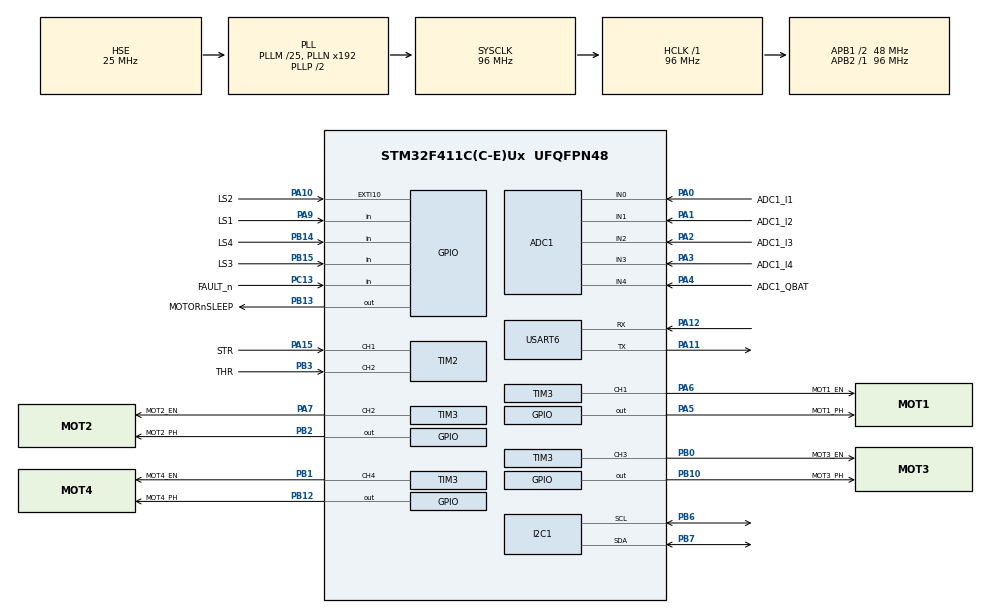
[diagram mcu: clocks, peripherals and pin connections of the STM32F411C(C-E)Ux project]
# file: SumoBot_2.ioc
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ADC1.Channel-1\#ChannelRegularConversion=ADC_CHANNEL_0
ADC1.NbrOfConversionFlag=1
ADC1.Rank-1\#ChannelRegularConversion=1
ADC1.SamplingTime-1\#ChannelRegularConversion=ADC_SAMPLETIME_3CYCLES
ADC1.master=1
Mcu.Family=STM32F4
Mcu.Name=STM32F411C(C-E)Ux
Mcu.Package=UFQFPN48
NVIC.PriorityGroup=NVIC_PRIORITYGROUP_4
NVIC.USART6_IRQn=true\:0\:0\:false\:false\:true\:true\:true\:true
PA0-WKUP.GPIO_Label=ADC1_I1
PA0-WKUP.Signal=ADCx_IN0
PA1.GPIO_Label=ADC1_I2
PA1.Signal=ADCx_IN1
PA10.GPIO_Label=LS2
PA10.Signal=GPXTI10
PA11.Mode=Asynchronous
PA11.Signal=USART6_TX
PA12.Mode=Asynchronous
PA12.Signal=USART6_RX
PA13.Mode=Serial_Wire
PA13.Signal=SYS_JTMS-SWDIO
PA14.Mode=Serial_Wire
PA14.Signal=SYS_JTCK-SWCLK
PA15.GPIO_Label=STR
PA15.Signal=S_TIM2_CH1_ETR
PA2.GPIO_Label=ADC1_I3
PA2.Signal=ADCx_IN2
PA3.GPIO_Label=ADC1_I4
PA3.Signal=ADCx_IN3
PA4.GPIO_Label=ADC1_QBAT
PA4.Signal=ADCx_IN4
PA5.GPIO_Label=MOT1_PH
PA5.Signal=GPIO_Output
PA6.GPIO_Label=MOT1_EN
PA6.Signal=S_TIM3_CH1
PA7.GPIO_Label=MOT2_EN
PA7.Signal=S_TIM3_CH2
PA9.GPIO_Label=LS1
PA9.Signal=GPIO_Input
PB0.GPIO_Label=MOT3_EN
PB0.Signal=S_TIM3_CH3
PB1.GPIO_Label=MOT4_EN
PB1.Signal=S_TIM3_CH4
PB10.GPIO_Label=MOT3_PH
PB10.Signal=GPIO_Output
PB12.GPIO_Label=MOT4_PH
PB12.Signal=GPIO_Output
PB13.GPIO_Label=MOTORnSLEEP
PB13.Signal=GPIO_Output
PB14.GPIO_Label=LS4
PB14.Signal=GPIO_Input
PB15.GPIO_Label=LS3
PB15.Signal=GPIO_Input
PB2.GPIO_Label=MOT2_PH
PB2.Signal=GPIO_Output
PB3.GPIO_Label=THR
PB3.Signal=S_TIM2_CH2
PB6.Mode=I2C
PB6.Signal=I2C1_SCL
PB7.Mode=I2C
PB7.Signal=I2C1_SDA
PC13-ANTI_TAMP.GPIO_Label=FAULT_n
PC13-ANTI_TAMP.Signal=GPIO_Input
PH0\ -\ OSC_IN.Mode=HSE-External-Oscillator
PH0\ -\ OSC_IN.Signal=RCC_OSC_IN
PH1\ -\ OSC_OUT.Mode=HSE-External-Oscillator
PH1\ -\ OSC_OUT.Signal=RCC_OSC_OUT
ProjectManager.HeapSize=0x200
ProjectManager.StackSize=0x400
ProjectManager.TargetToolchain=STM32CubeIDE
RCC.48MHZClocksFreq_Value=48000000
RCC.AHBFreq_Value=96000000
RCC.APB1CLKDivider=RCC_HCLK_DIV2
RCC.APB1Freq_Value=48000000
RCC.APB1TimFreq_Value=96000000
RCC.APB2Freq_Value=96000000
RCC.APB2TimFreq_Value=96000000
RCC.CortexFreq_Value=96000000
RCC.HCLKFreq_Value=96000000
RCC.HSE_VALUE=25000000
RCC.HSI_VALUE=16000000
RCC.LSE_VALUE=32768
RCC.PLLM=25
RCC.PLLSourceVirtual=RCC_PLLSOURCE_HSE
RCC.SYSCLKFreq_VALUE=96000000
RCC.SYSCLKSource=RCC_SYSCLKSOURCE_PLLCLK
RCC.VCOOutputFreq_Value=192000000
SH.ADCx_IN0.0=ADC1_IN0,IN0
SH.ADCx_IN1.0=ADC1_IN1,IN1
SH.ADCx_IN2.0=ADC1_IN2,IN2
SH.ADCx_IN3.0=ADC1_IN3,IN3
SH.ADCx_IN4.0=ADC1_IN4,IN4
SH.S_TIM2_CH1_ETR.0=TIM2_CH1,Input_Capture1_from_TI1
SH.S_TIM2_CH2.0=TIM2_CH2,Input_Capture2_from_TI2
SH.S_TIM3_CH1.0=TIM3_CH1,PWM Generation1 CH1
SH.S_TIM3_CH2.0=TIM3_CH2,PWM Generation2 CH2
SH.S_TIM3_CH3.0=TIM3_CH3,PWM Generation3 CH3
SH.S_TIM3_CH4.0=TIM3_CH4,PWM Generation4 CH4
TIM2.Channel-Input_Capture1_from_TI1=TIM_CHANNEL_1
TIM2.Channel-Input_Capture2_from_TI2=TIM_CHANNEL_2
TIM3.Channel-PWM\ Generation1\ CH1=TIM_CHANNEL_1
TIM3.Channel-PWM\ Generation2\ CH2=TIM_CHANNEL_2
TIM3.Channel-PWM\ Generation3\ CH3=TIM_CHANNEL_3
TIM3.Channel-PWM\ Generation4\ CH4=TIM_CHANNEL_4
USART6.VirtualMode=VM_ASYNC
board=custom

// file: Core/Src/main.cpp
/* USER CODE BEGIN Header */
/**
  ******************************************************************************
  * @file           : main.c
  * @brief          : Main program body
  ******************************************************************************
  * @attention
  *
  * Copyright (c) 2022 STMicroelectronics.
  * All rights reserved.
  *
  * This software is licensed under terms that can be found in the LICENSE file
  * in the root directory of this software component.
  * If no LICENSE file comes with this software, it is provided AS-IS.
  *
  ******************************************************************************
  */
/* USER CODE END Header */
#include "main.h"

/* USER CODE BEGIN Includes */

#include "IR_Sensor.h"
#include "DRV8876.h"
#include "FLYSKY_GT3A.h"
#include "string.h"
#include <stdio.h>
#include <stdlib.h>
#include "bno055_stm32.h"
#include "stream.h"
#include "taskTesting.h"
/* USER CODE END Includes */

 ADC_HandleTypeDef hadc1;

I2C_HandleTypeDef hi2c1;

TIM_HandleTypeDef htim2;
TIM_HandleTypeDef htim3;

UART_HandleTypeDef huart6;

/* USER CODE BEGIN PV */

extern stream_t ser_port = stream(&huart6); 	// Set up ser_port for printing

int32_t THR_lvl = 0;
int32_t STR_lvl =0;
int32_t level_1 = 0;
int32_t level_2 = 0;
int32_t level_3 = 0;
int32_t level_4 = 0;
/* USER CODE END PV */

void SystemClock_Config(void);
static void MX_GPIO_Init(void);
static void MX_ADC1_Init(void);
static void MX_TIM3_Init(void);
static void MX_TIM2_Init(void);
static void MX_USART6_UART_Init(void);
static void MX_I2C1_Init(void);
/* USER CODE BEGIN PFP */
motor		motor1 = motor(&htim3,
		   	   	  	  	   TIM_CHANNEL_1,
						   GPIOA,
						   GPIO_PIN_5,
						   GPIOB,
						   GPIO_PIN_13,
						   0);
motor   	motor2 = motor(&htim3,
		   	 	  	  	   TIM_CHANNEL_2,
						   GPIOB,
						   GPIO_PIN_2,
						   GPIOB,
						   GPIO_PIN_13,
						   0);
motor 		motor3 = motor(&htim3,
		   	 	  	  	   TIM_CHANNEL_3,
						   GPIOB,
						   GPIO_PIN_10,
						   GPIOB,
						   GPIO_PIN_13,
						   0);
motor 		motor4 = motor(&htim3,
		   	 	  	  	   TIM_CHANNEL_4,
						   GPIOB,
						   GPIO_PIN_12,
						   GPIOB,
						   GPIO_PIN_13,
						   0);

//Initialize Receiver Structure Parameters
FlySky 		receiver = FlySky(&htim2,TIM_CHANNEL_1,TIM_CHANNEL_2,0,0,0,0,0,0);

/* USER CODE END PFP */

/* USER CODE BEGIN 0 */
uint32_t start_time = HAL_GetTick();
uint32_t current_time = HAL_GetTick();
uint16_t period = 500;
uint32_t next_time = current_time + period;

char 	 mess[50] = {0};
uint16_t mess_len = 0;
/* USER CODE END 0 */

int main(void)
{

  /* MCU Configuration--------------------------------------------------------*/

  /* Reset of all peripherals, Initializes the Flash interface and the Systick. */
  HAL_Init();

  /* Configure the system clock */
  SystemClock_Config();

  /* Initialize all configured peripherals */
  MX_GPIO_Init();
  MX_ADC1_Init();
  MX_TIM3_Init();
  MX_TIM2_Init();
  MX_USART6_UART_Init();
  MX_I2C1_Init();
  /* USER CODE BEGIN 2 */

  // BNO055 DRIVERS BORROWED FROM THE FOLLOWING GITHUB REPO: https://github.com/ivyknob/bno055_stm32
  bno055_assignI2C(&hi2c1);
  bno055_setup();
  bno055_setOperationModeNDOF();

  taskTesting::init();

  /* USER CODE END 2 */

  /* Infinite loop */
  /* USER CODE BEGIN WHILE */
  while (1)
  {
	  //Set motor1 levels based on receiver pulse widths
	  	  	  THR_lvl = 9.5427*receiver.THR_Width - 14495;
	  	  	  STR_lvl = 9.3842*receiver.STR_Width - 14118;
	  	  	  level_1 = THR_lvl - STR_lvl;
	  	  	  level_2 = THR_lvl + STR_lvl;
	  	  	  level_3 = level_1;
	  	  	  level_4 = level_2;
	  	  	  if ((level_1>200) | (level_1<-200))
	  	  	  {
	  	  	  motor1.set_level(level_1);
	  	  	  motor3.set_level(level_3);
	  	  	  }
	  	  	  if ((level_2>200) | (level_2<-200))
	  	  	  {
	  	  	  motor2.set_level(level_2);
	  	  	  motor4.set_level(level_4);
	  	  	  }

	  	  //Print receiver channel pulse widths at a frequency of 2Hz
	  	  	  current_time = HAL_GetTick();
	  	  	  if (current_time >= next_time)
	  	  	  {
	  	  		  mess_len = sprintf(mess, "Throttle level is %d\r\nSteering level is %d\r\n\n", receiver.THR_Width, receiver.STR_Width);
	  	  		  HAL_UART_Transmit(&huart6,(uint8_t*) &mess, mess_len, 10);
	  	  		  HAL_UART_Receive_IT(&huart6,(uint8_t*) &mess, 1);
	  	  		  next_time = current_time+period;
	  	  	  }

	  	  	  taskTesting::run();
    /* USER CODE END WHILE */

  }
}

void SystemClock_Config(void)
{
  RCC_OscInitTypeDef RCC_OscInitStruct = {0};
  RCC_ClkInitTypeDef RCC_ClkInitStruct = {0};

  /** Configure the main internal regulator output voltage
  */
  __HAL_RCC_PWR_CLK_ENABLE();
  __HAL_PWR_VOLTAGESCALING_CONFIG(PWR_REGULATOR_VOLTAGE_SCALE1);

  /** Initializes the RCC Oscillators according to the specified parameters
  * in the RCC_OscInitTypeDef structure.
  */
  RCC_OscInitStruct.OscillatorType = RCC_OSCILLATORTYPE_HSE;
  RCC_OscInitStruct.HSEState = RCC_HSE_ON;
  RCC_OscInitStruct.PLL.PLLState = RCC_PLL_ON;
  RCC_OscInitStruct.PLL.PLLSource = RCC_PLLSOURCE_HSE;
  RCC_OscInitStruct.PLL.PLLM = 25;
  RCC_OscInitStruct.PLL.PLLN = 192;
  RCC_OscInitStruct.PLL.PLLP = RCC_PLLP_DIV2;
  RCC_OscInitStruct.PLL.PLLQ = 4;
  if (HAL_RCC_OscConfig(&RCC_OscInitStruct) != HAL_OK)
  {
    Error_Handler();
  }

  /** Initializes the CPU, AHB and APB buses clocks
  */
  RCC_ClkInitStruct.ClockType = RCC_CLOCKTYPE_HCLK|RCC_CLOCKTYPE_SYSCLK
                              |RCC_CLOCKTYPE_PCLK1|RCC_CLOCKTYPE_PCLK2;
  RCC_ClkInitStruct.SYSCLKSource = RCC_SYSCLKSOURCE_PLLCLK;
  RCC_ClkInitStruct.AHBCLKDivider = RCC_SYSCLK_DIV1;
  RCC_ClkInitStruct.APB1CLKDivider = RCC_HCLK_DIV2;
  RCC_ClkInitStruct.APB2CLKDivider = RCC_HCLK_DIV1;

  if (HAL_RCC_ClockConfig(&RCC_ClkInitStruct, FLASH_LATENCY_3) != HAL_OK)
  {
    Error_Handler();
  }
}

static void MX_ADC1_Init(void)
{

  ADC_ChannelConfTypeDef sConfig = {0};

  /** Configure the global features of the ADC (Clock, Resolution, Data Alignment and number of conversion)
  */
  hadc1.Instance = ADC1;
  hadc1.Init.ClockPrescaler = ADC_CLOCK_SYNC_PCLK_DIV4;
  hadc1.Init.Resolution = ADC_RESOLUTION_12B;
  hadc1.Init.ScanConvMode = DISABLE;
  hadc1.Init.ContinuousConvMode = DISABLE;
  hadc1.Init.DiscontinuousConvMode = DISABLE;
  hadc1.Init.ExternalTrigConvEdge = ADC_EXTERNALTRIGCONVEDGE_NONE;
  hadc1.Init.ExternalTrigConv = ADC_SOFTWARE_START;
  hadc1.Init.DataAlign = ADC_DATAALIGN_RIGHT;
  hadc1.Init.NbrOfConversion = 1;
  hadc1.Init.DMAContinuousRequests = DISABLE;
  hadc1.Init.EOCSelection = ADC_EOC_SINGLE_CONV;
  if (HAL_ADC_Init(&hadc1) != HAL_OK)
  {
    Error_Handler();
  }

  /** Configure for the selected ADC regular channel its corresponding rank in the sequencer and its sample time.
  */
  sConfig.Channel = ADC_CHANNEL_0;
  sConfig.Rank = 1;
  sConfig.SamplingTime = ADC_SAMPLETIME_3CYCLES;
  if (HAL_ADC_ConfigChannel(&hadc1, &sConfig) != HAL_OK)
  {
    Error_Handler();
  }

}

static void MX_I2C1_Init(void)
{

  hi2c1.Instance = I2C1;
  hi2c1.Init.ClockSpeed = 100000;
  hi2c1.Init.DutyCycle = I2C_DUTYCYCLE_2;
  hi2c1.Init.OwnAddress1 = 0;
  hi2c1.Init.AddressingMode = I2C_ADDRESSINGMODE_7BIT;
  hi2c1.Init.DualAddressMode = I2C_DUALADDRESS_DISABLE;
  hi2c1.Init.OwnAddress2 = 0;
  hi2c1.Init.GeneralCallMode = I2C_GENERALCALL_DISABLE;
  hi2c1.Init.NoStretchMode = I2C_NOSTRETCH_DISABLE;
  if (HAL_I2C_Init(&hi2c1) != HAL_OK)
  {
    Error_Handler();
  }

}

static void MX_TIM2_Init(void)
{

  TIM_MasterConfigTypeDef sMasterConfig = {0};
  TIM_IC_InitTypeDef sConfigIC = {0};

  htim2.Instance = TIM2;
  htim2.Init.Prescaler = 0;
  htim2.Init.CounterMode = TIM_COUNTERMODE_UP;
  htim2.Init.Period = 4294967295;
  htim2.Init.ClockDivision = TIM_CLOCKDIVISION_DIV1;
  htim2.Init.AutoReloadPreload = TIM_AUTORELOAD_PRELOAD_DISABLE;
  if (HAL_TIM_IC_Init(&htim2) != HAL_OK)
  {
    Error_Handler();
  }
  sMasterConfig.MasterOutputTrigger = TIM_TRGO_RESET;
  sMasterConfig.MasterSlaveMode = TIM_MASTERSLAVEMODE_DISABLE;
  if (HAL_TIMEx_MasterConfigSynchronization(&htim2, &sMasterConfig) != HAL_OK)
  {
    Error_Handler();
  }
  sConfigIC.ICPolarity = TIM_INPUTCHANNELPOLARITY_RISING;
  sConfigIC.ICSelection = TIM_ICSELECTION_DIRECTTI;
  sConfigIC.ICPrescaler = TIM_ICPSC_DIV1;
  sConfigIC.ICFilter = 0;
  if (HAL_TIM_IC_ConfigChannel(&htim2, &sConfigIC, TIM_CHANNEL_1) != HAL_OK)
  {
    Error_Handler();
  }
  if (HAL_TIM_IC_ConfigChannel(&htim2, &sConfigIC, TIM_CHANNEL_2) != HAL_OK)
  {
    Error_Handler();
  }

}

static void MX_TIM3_Init(void)
{

  TIM_MasterConfigTypeDef sMasterConfig = {0};
  TIM_OC_InitTypeDef sConfigOC = {0};

  htim3.Instance = TIM3;
  htim3.Init.Prescaler = 0;
  htim3.Init.CounterMode = TIM_COUNTERMODE_UP;
  htim3.Init.Period = 65535;
  htim3.Init.ClockDivision = TIM_CLOCKDIVISION_DIV1;
  htim3.Init.AutoReloadPreload = TIM_AUTORELOAD_PRELOAD_DISABLE;
  if (HAL_TIM_PWM_Init(&htim3) != HAL_OK)
  {
    Error_Handler();
  }
  sMasterConfig.MasterOutputTrigger = TIM_TRGO_RESET;
  sMasterConfig.MasterSlaveMode = TIM_MASTERSLAVEMODE_DISABLE;
  if (HAL_TIMEx_MasterConfigSynchronization(&htim3, &sMasterConfig) != HAL_OK)
  {
    Error_Handler();
  }
  sConfigOC.OCMode = TIM_OCMODE_PWM1;
  sConfigOC.Pulse = 0;
  sConfigOC.OCPolarity = TIM_OCPOLARITY_HIGH;
  sConfigOC.OCFastMode = TIM_OCFAST_DISABLE;
  if (HAL_TIM_PWM_ConfigChannel(&htim3, &sConfigOC, TIM_CHANNEL_1) != HAL_OK)
  {
    Error_Handler();
  }
  if (HAL_TIM_PWM_ConfigChannel(&htim3, &sConfigOC, TIM_CHANNEL_2) != HAL_OK)
  {
    Error_Handler();
  }
  if (HAL_TIM_PWM_ConfigChannel(&htim3, &sConfigOC, TIM_CHANNEL_3) != HAL_OK)
  {
    Error_Handler();
  }
  if (HAL_TIM_PWM_ConfigChannel(&htim3, &sConfigOC, TIM_CHANNEL_4) != HAL_OK)
  {
    Error_Handler();
  }
  HAL_TIM_MspPostInit(&htim3);

}

static void MX_USART6_UART_Init(void)
{

  huart6.Instance = USART6;
  huart6.Init.BaudRate = 115200;
  huart6.Init.WordLength = UART_WORDLENGTH_8B;
  huart6.Init.StopBits = UART_STOPBITS_1;
  huart6.Init.Parity = UART_PARITY_NONE;
  huart6.Init.Mode = UART_MODE_TX_RX;
  huart6.Init.HwFlowCtl = UART_HWCONTROL_NONE;
  huart6.Init.OverSampling = UART_OVERSAMPLING_16;
  if (HAL_UART_Init(&huart6) != HAL_OK)
  {
    Error_Handler();
  }

}

static void MX_GPIO_Init(void)
{
  GPIO_InitTypeDef GPIO_InitStruct = {0};

  /* GPIO Ports Clock Enable */
  __HAL_RCC_GPIOC_CLK_ENABLE();
  __HAL_RCC_GPIOH_CLK_ENABLE();
  __HAL_RCC_GPIOA_CLK_ENABLE();
  __HAL_RCC_GPIOB_CLK_ENABLE();

  /*Configure GPIO pin Output Level */
  HAL_GPIO_WritePin(MOT1_PH_GPIO_Port, MOT1_PH_Pin, GPIO_PIN_RESET);

  /*Configure GPIO pin Output Level */
  HAL_GPIO_WritePin(GPIOB, MOT2_PH_Pin|MOT3_PH_Pin|MOT4_PH_Pin|MOTORnSLEEP_Pin, GPIO_PIN_RESET);

  /*Configure GPIO pin : FAULT_n_Pin */
  GPIO_InitStruct.Pin = FAULT_n_Pin;
  GPIO_InitStruct.Mode = GPIO_MODE_INPUT;
  GPIO_InitStruct.Pull = GPIO_NOPULL;
  HAL_GPIO_Init(FAULT_n_GPIO_Port, &GPIO_InitStruct);

  /*Configure GPIO pin : MOT1_PH_Pin */
  GPIO_InitStruct.Pin = MOT1_PH_Pin;
  GPIO_InitStruct.Mode = GPIO_MODE_OUTPUT_PP;
  GPIO_InitStruct.Pull = GPIO_NOPULL;
  GPIO_InitStruct.Speed = GPIO_SPEED_FREQ_LOW;
  HAL_GPIO_Init(MOT1_PH_GPIO_Port, &GPIO_InitStruct);

  /*Configure GPIO pins : MOT2_PH_Pin MOT3_PH_Pin MOT4_PH_Pin MOTORnSLEEP_Pin */
  GPIO_InitStruct.Pin = MOT2_PH_Pin|MOT3_PH_Pin|MOT4_PH_Pin|MOTORnSLEEP_Pin;
  GPIO_InitStruct.Mode = GPIO_MODE_OUTPUT_PP;
  GPIO_InitStruct.Pull = GPIO_NOPULL;
  GPIO_InitStruct.Speed = GPIO_SPEED_FREQ_LOW;
  HAL_GPIO_Init(GPIOB, &GPIO_InitStruct);

  /*Configure GPIO pins : LS4_Pin LS3_Pin */
  GPIO_InitStruct.Pin = LS4_Pin|LS3_Pin;
  GPIO_InitStruct.Mode = GPIO_MODE_INPUT;
  GPIO_InitStruct.Pull = GPIO_NOPULL;
  HAL_GPIO_Init(GPIOB, &GPIO_InitStruct);

  /*Configure GPIO pin : LS1_Pin */
  GPIO_InitStruct.Pin = LS1_Pin;
  GPIO_InitStruct.Mode = GPIO_MODE_INPUT;
  GPIO_InitStruct.Pull = GPIO_NOPULL;
  HAL_GPIO_Init(LS1_GPIO_Port, &GPIO_InitStruct);

  /*Configure GPIO pin : LS2_Pin */
  GPIO_InitStruct.Pin = LS2_Pin;
  GPIO_InitStruct.Mode = GPIO_MODE_IT_RISING;
  GPIO_InitStruct.Pull = GPIO_NOPULL;
  HAL_GPIO_Init(LS2_GPIO_Port, &GPIO_InitStruct);

}

void Error_Handler(void)
{
  __disable_irq();
  while (1)
  {
  }
}
